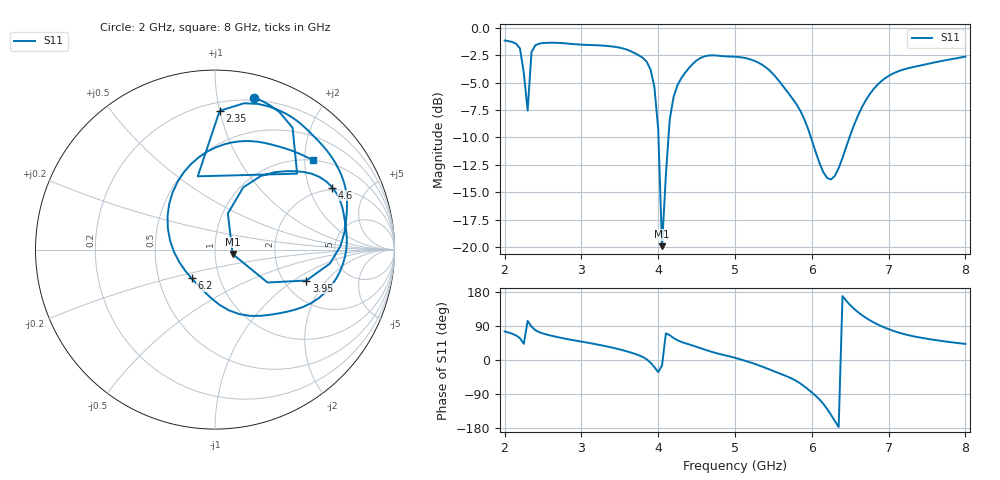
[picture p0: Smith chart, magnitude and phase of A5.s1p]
! Generated by Hertzon (EMerge FEM)
# HZ S RI R 50
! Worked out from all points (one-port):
!   121 points, 2 GHz to 8 GHz, reference 50 ohm
!   lowest |S11| = -19.9 dB at 4.05 GHz (marker M1), VSWR 1.22, Z = 60.8 - j3.01 ohm
!   |S11| at or under -10 dB: 4.004 GHz to 4.134 GHz (130.3 MHz wide, 3.2 % of centre); 5.989 GHz to 6.491 GHz (501.7 MHz wide, 8.04 % of centre)
!   S11 on the Smith chart (normalised r, x): 2 GHz: 0.18, +1.28; 2.35 GHz: 0.26, +1.00; 3.95 GHz: 2.63, -1.27; 4.6 GHz: 1.89, +2.89; 6.2 GHz: 0.73, -0.25; 8 GHz: 1.00, +2.19
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2e9  0.2183 0.8473
2.15e9  0.3611 0.764
2.2e9  0.4322 0.6787
2.25e9  0.4576 0.4229
2.3e9  -0.0961 0.4083
2.35e9  0.0259 0.773
2.45e9  0.2393 0.8117
2.75e9  0.4529 0.7203
3.5e9  0.7173 0.3788
3.85e9  0.6992 0.0202
3.95e9  0.5096 -0.1722
4e9  0.2925 -0.1833
4.05e9  0.098 -0.0245
4.1e9  0.0717 0.2014
4.15e9  0.1575 0.347
4.25e9  0.3342 0.4314
4.45e9  0.5383 0.4229
4.6e9  0.6545 0.3456
5e9  0.734 0.0734
5.35e9  0.649 -0.2001
5.75e9  0.3054 -0.3634
5.95e9  0.0774 -0.3384
6.2e9  -0.1306 -0.16
6.3e9  -0.1998 -0.0684
6.5e9  -0.2644 0.1858
6.85e9  -0.044 0.5454
7.25e9  0.2663 0.5962
8e9  0.5454 0.4981
